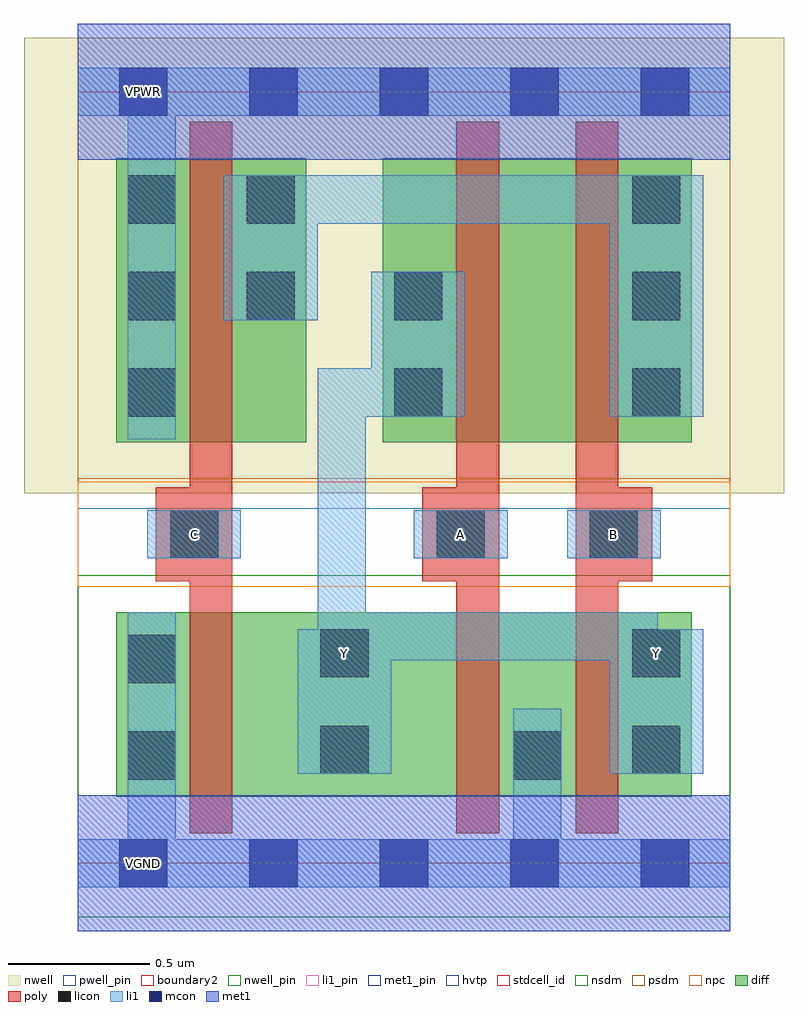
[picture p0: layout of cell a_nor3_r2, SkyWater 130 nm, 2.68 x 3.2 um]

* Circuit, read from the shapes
.subckt a_nor3_r2 A B C VGND VNB VPB VPWR Y
XM1 Y C VGND VNB sky130_fd_pr__nfet_01v8 w=0.65 l=0.15
XM2 VGND A Y VNB sky130_fd_pr__nfet_01v8 w=0.65 l=0.15
XM3 Y B VGND VNB sky130_fd_pr__nfet_01v8 w=0.65 l=0.15
XM4 n1 C VPWR VPB sky130_fd_pr__pfet_01v8_hvt w=1 l=0.15
XM5 n2 A Y VPB sky130_fd_pr__pfet_01v8_hvt w=1 l=0.15
XM6 n1 B n2 VPB sky130_fd_pr__pfet_01v8_hvt w=1 l=0.15
.ends

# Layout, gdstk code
import gdstk
lib = gdstk.Library(unit=1e-6, precision=1e-09)
def R(c, l, rs):  # rectangles x0, y0, x1, y1
    for r in rs: c.add(gdstk.rectangle(r[:2], r[2:], *l))
def A(c, l, x, y, w, h, nx, ny, dx, dy):  # array of equal rectangles
    R(c, l, [(x+i*dx, y+j*dy, x+i*dx+w, y+j*dy+h) for i in range(nx) for j in range(ny)])
nwell_pin = (64, 16)
nwell = (64, 20)
diff = (65, 20)
poly = (66, 20)
licon = (66, 44)
li1_pin = (67, 16)
li1 = (67, 20)
mcon = (67, 44)
met1_pin = (68, 16)
met1 = (68, 20)
hvtp = (78, 44)
stdcell_id = (81, 4)
nsdm = (93, 44)
psdm = (94, 20)
npc = (95, 20)
pwell_pin = (122, 16)
boundary2 = (236, 0)

a_nor3_r2 = lib.new_cell('a_nor3_r2')
R(a_nor3_r2, nwell_pin, [(0.145,2.635,0.315,2.805)])
R(a_nor3_r2, nwell, [(-0.19,1.305,2.49,2.91)])
R(a_nor3_r2, diff, [(0.135,0.235,0.94,0.885), (0.94,0.235,1.62,0.885), (1.62,0.235,2.165,0.885), (0.135,1.485,0.805,2.485), (1.075,1.485,1.62,2.485), (1.62,1.485,2.165,2.485)])
R(a_nor3_r2, poly, [(0.395,0.105,0.545,2.615), (1.335,0.105,1.485,2.615), (1.755,0.105,1.905,2.615), (0.275,0.995,0.545,1.325), (1.215,0.995,1.485,1.325), (1.755,0.995,2.025,1.325)])
A(a_nor3_r2, licon, 0.175, 1.575, 0.17, 0.17, 1, 3, 0, 0.34)
A(a_nor3_r2, licon, 1.955, 1.575, 0.17, 0.17, 1, 3, 0, 0.34)
R(a_nor3_r2, licon, [(0.175,0.295,0.345,0.465), (1.535,0.295,1.705,0.465), (0.855,0.315,1.025,0.485), (1.955,0.315,2.125,0.485), (0.175,0.635,0.345,0.805), (0.855,0.655,1.025,0.825), (1.955,0.655,2.125,0.825), (0.325,1.075,0.495,1.245), (1.265,1.075,1.435,1.245), (1.805,1.075,1.975,1.245), (1.115,1.575,1.285,1.745), (0.595,1.915,0.765,2.085), (1.115,1.915,1.285,2.085), (0.595,2.255,0.765,2.425)])
R(a_nor3_r2, li1_pin, [(0.855,0.655,1.025,0.825), (1.955,0.655,2.125,0.825), (0.325,1.075,0.495,1.245), (1.265,1.075,1.435,1.245), (1.805,1.075,1.975,1.245)])
R(a_nor3_r2, li1, [(0,-0.085,2.3,0.085), (0.175,-0.085,0.345,0.545), (1.535,-0.085,1.705,0.545), (0.175,0.295,0.345,0.885), (0.775,0.315,1.105,0.825), (1.875,0.315,2.205,0.825), (0.775,0.655,1.105,0.825), (0.845,0.655,1.015,1.745), (1.875,0.655,2.205,0.825), (1.875,0.655,2.045,0.885), (0.845,0.715,2.045,0.885), (0.245,1.075,0.575,1.245), (1.185,1.075,1.515,1.245), (1.725,1.075,2.055,1.245), (0.175,1.495,0.345,2.085), (0.845,1.575,1.205,1.745), (1.015,1.575,1.035,1.745), (1.015,1.575,1.035,1.745), (1.015,1.575,1.035,1.745), (1.015,1.575,1.035,1.745), (1.015,1.575,1.035,1.745), (1.015,1.575,1.035,1.745), (1.015,1.575,1.035,1.745), (1.015,1.575,1.035,1.745), (1.035,1.575,1.365,1.745), (1.035,1.575,1.365,2.085), (1.875,1.575,2.205,2.085), (0.175,1.835,0.345,2.425), (0.515,1.915,0.845,2.425), (1.875,1.915,2.205,2.425), (0.175,2.085,0.345,2.175), (0.175,2.085,0.345,2.175), (0.175,2.085,0.345,2.175), (0.175,2.085,0.345,2.175), (0.175,2.175,0.345,2.805), (0.515,2.255,0.845,2.425), (0.675,2.255,2.045,2.425), (1.875,2.255,2.205,2.425), (0,2.635,2.3,2.805)])
A(a_nor3_r2, mcon, 0.145, -0.085, 0.17, 0.17, 5, 2, 0.46, 2.72)
R(a_nor3_r2, met1_pin, [(0.145,-0.085,0.315,0.085), (0.145,2.635,0.315,2.805)])
R(a_nor3_r2, met1, [(0,-0.24,2.3,0.24), (0,2.48,2.3,2.96)])
R(a_nor3_r2, hvtp, [(0,1.25,2.3,2.72)])
R(a_nor3_r2, stdcell_id, [(0,0,2.3,2.72)])
R(a_nor3_r2, nsdm, [(0,-0.19,2.3,1.015)])
R(a_nor3_r2, psdm, [(0,1.355,2.3,2.91)])
R(a_nor3_r2, npc, [(0,0.975,2.3,1.345)])
R(a_nor3_r2, pwell_pin, [(0.145,-0.085,0.315,0.085)])
R(a_nor3_r2, boundary2, [(0,0,2.3,2.72)])
a_nor3_r2.add(gdstk.Label('A', (1.35,1.16), layer=67, texttype=5))
a_nor3_r2.add(gdstk.Label('B', (1.89,1.16), layer=67, texttype=5))
a_nor3_r2.add(gdstk.Label('C', (0.41,1.16), layer=67, texttype=5))
a_nor3_r2.add(gdstk.Label('Y', (0.94,0.74), layer=67, texttype=5))
a_nor3_r2.add(gdstk.Label('Y', (2.04,0.74), layer=67, texttype=5))
a_nor3_r2.add(gdstk.Label('VGND', (0.23,0), layer=68, texttype=5))
a_nor3_r2.add(gdstk.Label('VPWR', (0.23,2.72), layer=68, texttype=5))
a_nor3_r2.add(gdstk.Label('VPB', (0.23,2.72), layer=64, texttype=5))
a_nor3_r2.add(gdstk.Label('VNB', (0.23,0), layer=64, texttype=59))

lib.write_gds('a_nor3_r2.gds')
